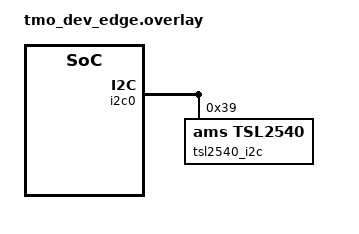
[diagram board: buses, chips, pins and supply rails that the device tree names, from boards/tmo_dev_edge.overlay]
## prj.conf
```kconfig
CONFIG_ZTEST=y
CONFIG_ZTEST_NEW_API=y
CONFIG_SENSOR=y
```

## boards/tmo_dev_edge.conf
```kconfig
# Copyright (c) 2023 T-Mobile
# SPDX-License-Identifier: Apache-2.0

CONFIG_I2C=y
CONFIG_SENSOR=y
CONFIG_TSL2540=y
```

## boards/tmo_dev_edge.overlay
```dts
/* Copyright (c) 2023 T-Mobile
 * SPDX-License-Identifier: Apache-2.0
 */

/ {
	aliases {
		als-0 = &tsl2540_i2c;
	};
};

&i2c0 {
	status = "okay";
	tsl2540_i2c: tsl2540@39 {
		status = "okay";
		compatible = "ams,tsl2540";
		reg = <0x39 0x4>;
	};
};
```

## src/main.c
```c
/*
 * Copyright 2032 T-Mobile
 *
 * SPDX-License-Identifier: Apache-2.0
 */

/**
 * @defgroup driver_sensor_subsys_tests sensor_subsys
 * @ingroup all_tests
 * @{
 * @}
 */

#include <zephyr/ztest.h>
#include <zephyr/drivers/sensor.h>

struct sensor_als_fixture {
	const struct device *als_i2c;
};

static enum sensor_channel channel[] = {
	SENSOR_CHAN_LIGHT,
	SENSOR_CHAN_IR,
};

static void test_sensor_als_basic(const struct device *dev)
{
	zassert_equal(sensor_sample_fetch(dev), 0, "fail to fetch sample");

	for (int i = 0; i < ARRAY_SIZE(channel); i++) {
		struct sensor_value val;

		zassert_ok(sensor_channel_get(dev, channel[i], &val),
			   "fail to get channel");
	}
}

/* Run all of our tests on an als device with the given label */
static void run_tests_on_als(const struct device *als)
{
	zassert_true(device_is_ready(als), "als device is not ready");

	PRINT("Running tests on '%s'\n", als->name);
	k_object_access_grant(als, k_current_get());
}


ZTEST_USER_F(sensor_als, test_sensor_als_basic_i2c)
{
	if (fixture->als_i2c == NULL) {
		ztest_test_skip();
	}

	run_tests_on_als(fixture->als_i2c);
	test_sensor_als_basic(fixture->als_i2c);
}

static void *sensor_als_setup(void)
{
	static struct sensor_als_fixture fixture = {
		.als_i2c = DEVICE_DT_GET_OR_NULL(DT_ALIAS(als_0))
	};

	return &fixture;
}

ZTEST_SUITE(sensor_als, NULL, sensor_als_setup, NULL, NULL, NULL);
```
